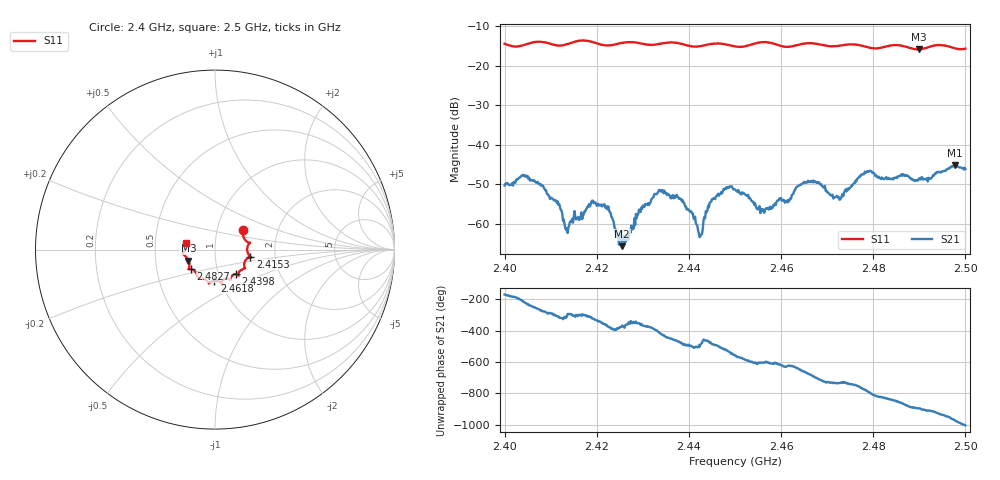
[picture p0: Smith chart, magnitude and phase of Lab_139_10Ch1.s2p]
# Hz S RI R 50
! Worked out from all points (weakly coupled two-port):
!   601 points, 2.4 GHz to 2.5 GHz, reference 50 ohm
!   highest |S21| = -45.29 dB at 2.4977 GHz (marker M1); lowest = -65.7 dB at 2.4255 GHz (marker M2)
!   lowest |S11| = -15.9 dB at 2.4898 GHz (marker M3), VSWR 1.38, Z = 36.9 - j4.61 ohm
!   |S11| at or under -10 dB: start of sweep to end of sweep
!   S12 and S22 are empty: the file has one direction only
!   S11 on the Smith chart (normalised r, x): 2.4 GHz: 1.33, +0.29; 2.4153 GHz: 1.48, -0.12; 2.4398 GHz: 1.21, -0.34; 2.4618 GHz: 0.94, -0.33; 2.4827 GHz: 0.75, -0.17; 2.5 GHz: 0.72, +0.06
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2.4e9  0.1551 0.1068  -0.00297 -0.000578  0 0  0 0
2.4045e9  0.1791 0.043  -0.00302 0.00276  0 0  0 0
2.4135e9  0.1841 -0.0216  0.000527 0.000685  0 0  0 0
2.415333e9  0.1969 -0.0393  0.000794 0.000913  0 0  0 0
2.416667e9  0.2027 -0.0432  0.000787 0.00114  0 0  0 0
2.422e9  0.1672 -0.0646  0.00156 -0.000124  0 0  0 0
2.4255e9  0.1656 -0.0996  0.000513 -6.05e-05  0 0  0 0
2.433333e9  0.13 -0.134  0.00166 -0.00184  0 0  0 0
2.439833e9  0.1153 -0.1359  -0.00093 -0.00117  0 0  0 0
2.4425e9  0.0913 -0.1499  -0.000421 -0.000563  0 0  0 0
2.445e9  0.0838 -0.1683  -0.00121 -0.00164  0 0  0 0
2.45e9  0.0655 -0.1619  -0.00256 0.000826  0 0  0 0
2.456e9  0.0385 -0.1938  -0.000627 0.0013  0 0  0 0
2.461833e9  -0.00313 -0.1729  -0.000191 0.00194  0 0  0 0
2.466667e9  -0.0349 -0.1882  0.00282 0.0019  0 0  0 0
2.4725e9  -0.0758 -0.1602  0.0021 -0.000511  0 0  0 0
2.478667e9  -0.1016 -0.1373  0.00195 -0.00415  0 0  0 0
2.482667e9  -0.1352 -0.1087  -0.00138 -0.0035  0 0  0 0
2.483333e9  -0.1403 -0.1083  -0.00174 -0.00335  0 0  0 0
2.489833e9  -0.1478 -0.0609  -0.00363 -0.000278  0 0  0 0
2.497667e9  -0.1653 0.000265  -0.00176 0.00515  0 0  0 0
2.5e9  -0.1591 0.0383  0.00124 0.00472  0 0  0 0
